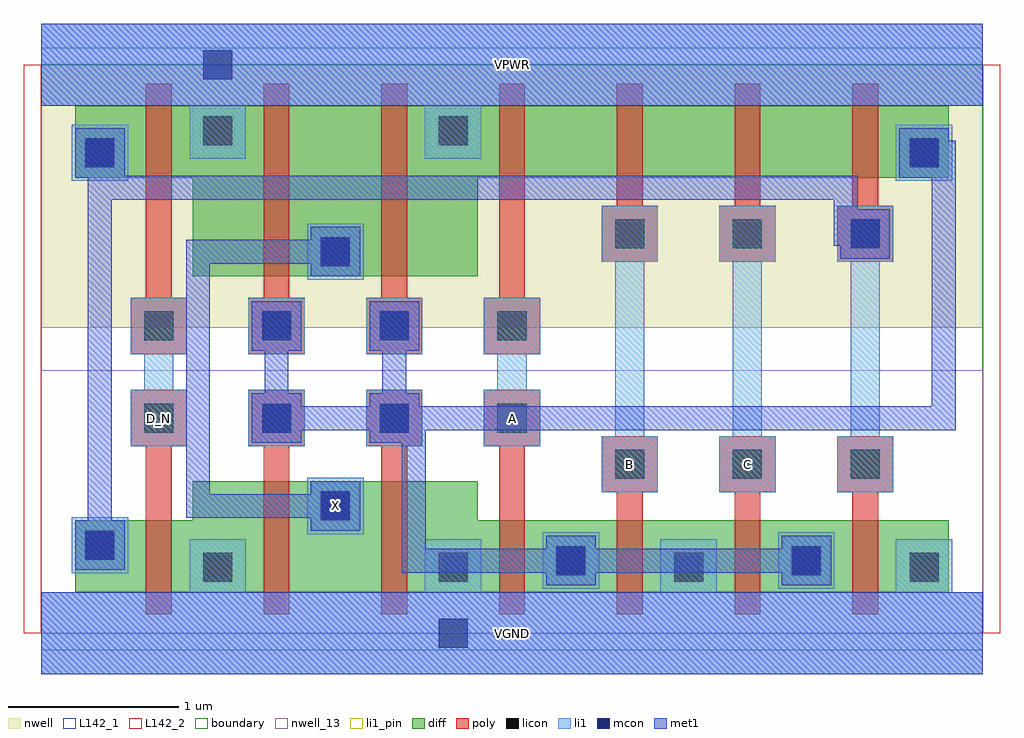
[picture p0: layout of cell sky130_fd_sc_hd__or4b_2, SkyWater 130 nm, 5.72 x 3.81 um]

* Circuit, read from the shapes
.subckt sky130_fd_sc_hd__or4b_2 A B C D_N VGND VPWR X
XM1 VGND D_N n1 VSUBS sky130_fd_pr__nfet_01v8 w=0.42 l=0.15
XM2 X n2 VGND VSUBS sky130_fd_pr__nfet_01v8 w=0.65 l=0.15 m=2
XM3 n2 A VGND VSUBS sky130_fd_pr__nfet_01v8 w=0.42 l=0.15
XM4 VGND B n2 VSUBS sky130_fd_pr__nfet_01v8 w=0.42 l=0.15
XM5 n2 C VGND VSUBS sky130_fd_pr__nfet_01v8 w=0.42 l=0.15
XM6 VGND n1 n2 VSUBS sky130_fd_pr__nfet_01v8 w=0.42 l=0.15
XM7 VPWR D_N n1 n3 sky130_fd_pr__pfet_01v8 w=0.42 l=0.15
XM8 X n2 VPWR n3 sky130_fd_pr__pfet_01v8 w=1 l=0.15 m=2
XM9 n4 A VPWR n3 sky130_fd_pr__pfet_01v8 w=0.42 l=0.15
XM10 n5 B n4 n3 sky130_fd_pr__pfet_01v8 w=0.42 l=0.15
XM11 n6 C n5 n3 sky130_fd_pr__pfet_01v8 w=0.42 l=0.15
XM12 n2 n1 n6 n3 sky130_fd_pr__pfet_01v8 w=0.42 l=0.15
.ends

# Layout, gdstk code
import gdstk
lib = gdstk.Library(unit=1e-6, precision=1e-09)
def R(c, l, rs):  # rectangles x0, y0, x1, y1
    for r in rs: c.add(gdstk.rectangle(r[:2], r[2:], *l))
def A(c, l, x, y, w, h, nx, ny, dx, dy):  # array of equal rectangles
    R(c, l, [(x+i*dx, y+j*dy, x+i*dx+w, y+j*dy+h) for i in range(nx) for j in range(ny)])
def P(c, l, *ps):  # polygons
    for p in ps: c.add(gdstk.Polygon(p, *l))
nwell_13 = (64, 13)
nwell = (64, 20)
diff = (65, 20)
poly = (66, 20)
licon = (66, 44)
li1_pin = (67, 16)
li1 = (67, 20)
mcon = (67, 44)
met1 = (68, 20)
L142_1 = (142, 1)
L142_2 = (142, 2)
boundary = (235, 4)

sky130_fd_sc_hd__or4b_2 = lib.new_cell('sky130_fd_sc_hd__or4b_2')
R(sky130_fd_sc_hd__or4b_2, nwell_13, [(0,0,5.52,1.54)])
R(sky130_fd_sc_hd__or4b_2, nwell, [(0,1.79,5.52,3.33)])
A(sky130_fd_sc_hd__or4b_2, diff, 2.685, 0.24, 0.69, 0.42, 3, 2, 0.69, 2.43)
R(sky130_fd_sc_hd__or4b_2, diff, [(0.2,0.24,0.615,0.66), (1.305,0.24,1.995,0.89), (4.755,0.24,5.32,0.66), (1.305,2.09,1.995,3.09), (0.2,2.67,0.615,3.09), (4.755,2.67,5.32,3.09)])
P(sky130_fd_sc_hd__or4b_2, diff, [(0.2,0.24),(0.2,0.66),(0.89,0.66),(0.89,0.89),(2.56,0.89),(2.56,0.66),(5.32,0.66),(5.32,0.24)],
  [(0.615,0.24),(0.615,0.66),(0.89,0.66),(0.89,0.89),(1.305,0.89),(1.305,0.24)],
  [(1.995,0.24),(1.995,0.89),(2.56,0.89),(2.56,0.66),(2.685,0.66),(2.685,0.24)],
  [(0.89,2.09),(0.89,2.67),(0.2,2.67),(0.2,3.09),(5.32,3.09),(5.32,2.67),(2.56,2.67),(2.56,2.09)],
  [(0.89,2.09),(0.89,2.67),(0.615,2.67),(0.615,3.09),(1.305,3.09),(1.305,2.09)],
  [(1.995,2.09),(1.995,3.09),(2.685,3.09),(2.685,2.67),(2.56,2.67),(2.56,2.09)])
P(sky130_fd_sc_hd__or4b_2, poly, [(3.375,0.11),(3.375,0.825),(3.285,0.825),(3.285,1.155),(3.615,1.155),(3.615,0.825),(3.525,0.825),(3.525,0.11)],
  [(3.285,2.175),(3.285,2.505),(3.375,2.505),(3.375,3.22),(3.525,3.22),(3.525,2.505),(3.615,2.505),(3.615,2.175)],
  [(1.305,0.11),(1.305,1.095),(1.215,1.095),(1.215,1.425),(1.545,1.425),(1.545,1.095),(1.455,1.095),(1.455,0.11)],
  [(1.995,0.11),(1.995,1.095),(1.905,1.095),(1.905,1.425),(2.235,1.425),(2.235,1.095),(2.145,1.095),(2.145,0.11)],
  [(1.215,1.635),(1.215,1.965),(1.305,1.965),(1.305,3.22),(1.455,3.22),(1.455,1.965),(1.545,1.965),(1.545,1.635)],
  [(1.905,1.635),(1.905,1.965),(1.995,1.965),(1.995,3.22),(2.145,3.22),(2.145,1.965),(2.235,1.965),(2.235,1.635)],
  [(4.755,0.11),(4.755,0.825),(4.665,0.825),(4.665,1.155),(4.995,1.155),(4.995,0.825),(4.905,0.825),(4.905,0.11)],
  [(4.665,2.175),(4.665,2.505),(4.755,2.505),(4.755,3.22),(4.905,3.22),(4.905,2.505),(4.995,2.505),(4.995,2.175)],
  [(0.615,0.11),(0.615,1.095),(0.525,1.095),(0.525,1.425),(0.855,1.425),(0.855,1.095),(0.765,1.095),(0.765,0.11)],
  [(0.525,1.635),(0.525,1.965),(0.615,1.965),(0.615,3.22),(0.765,3.22),(0.765,1.965),(0.855,1.965),(0.855,1.635)],
  [(4.065,0.11),(4.065,0.825),(3.975,0.825),(3.975,1.155),(4.305,1.155),(4.305,0.825),(4.215,0.825),(4.215,0.11)],
  [(3.975,2.175),(3.975,2.505),(4.065,2.505),(4.065,3.22),(4.215,3.22),(4.215,2.505),(4.305,2.505),(4.305,2.175)],
  [(2.685,0.11),(2.685,1.095),(2.595,1.095),(2.595,1.425),(2.925,1.425),(2.925,1.095),(2.835,1.095),(2.835,0.11)],
  [(2.595,1.635),(2.595,1.965),(2.685,1.965),(2.685,3.22),(2.835,3.22),(2.835,1.965),(2.925,1.965),(2.925,1.635)])
A(sky130_fd_sc_hd__or4b_2, licon, 0.95, 0.3, 0.17, 0.17, 4, 1, 1.38, 0)
A(sky130_fd_sc_hd__or4b_2, licon, 3.365, 0.905, 0.17, 0.17, 3, 2, 0.69, 1.35)
A(sky130_fd_sc_hd__or4b_2, licon, 0.605, 1.175, 0.17, 0.17, 4, 2, 0.69, 0.54)
R(sky130_fd_sc_hd__or4b_2, licon, [(3.02,0.34,3.19,0.51), (4.4,0.34,4.57,0.51), (0.26,0.43,0.43,0.6), (1.64,0.66,1.81,0.83), (1.64,2.15,1.81,2.32), (0.26,2.73,0.43,2.9), (5.09,2.73,5.26,2.9), (0.95,2.86,1.12,3.03), (2.33,2.86,2.5,3.03)])
R(sky130_fd_sc_hd__or4b_2, li1_pin, [(0,-0.24,5.52,0.24), (1.56,0.58,1.89,0.91), (0,3.09,5.52,3.57)])
P(sky130_fd_sc_hd__or4b_2, li1_pin, [(3.285,0.825),(3.285,1.155),(3.365,1.155),(3.365,2.175),(3.285,2.175),(3.285,2.505),(3.615,2.505),(3.615,2.175),(3.535,2.175),(3.535,1.155),(3.615,1.155),(3.615,0.825)],
  [(2.595,1.095),(2.595,1.425),(2.675,1.425),(2.675,1.635),(2.595,1.635),(2.595,1.965),(2.925,1.965),(2.925,1.635),(2.845,1.635),(2.845,1.425),(2.925,1.425),(2.925,1.095)],
  [(3.975,0.825),(3.975,1.155),(4.055,1.155),(4.055,2.175),(3.975,2.175),(3.975,2.505),(4.305,2.505),(4.305,2.175),(4.225,2.175),(4.225,1.155),(4.305,1.155),(4.305,0.825)],
  [(0.525,1.095),(0.525,1.425),(0.605,1.425),(0.605,1.635),(0.525,1.635),(0.525,1.965),(0.855,1.965),(0.855,1.635),(0.775,1.635),(0.775,1.425),(0.855,1.425),(0.855,1.095)])
R(sky130_fd_sc_hd__or4b_2, li1, [(2.94,0.26,3.27,0.59), (4.32,0.26,4.65,0.59), (0.18,0.35,0.51,0.68), (1.56,0.58,1.89,0.91), (1.215,1.095,1.545,1.425), (1.905,1.095,2.235,1.425), (1.215,1.635,1.545,1.965), (1.905,1.635,2.235,1.965), (1.56,2.07,1.89,2.4), (0.18,2.65,0.51,2.98), (5.01,2.65,5.34,2.98)])
P(sky130_fd_sc_hd__or4b_2, li1, [(3.285,0.825),(3.285,1.155),(3.365,1.155),(3.365,2.175),(3.285,2.175),(3.285,2.505),(3.615,2.505),(3.615,2.175),(3.535,2.175),(3.535,1.155),(3.615,1.155),(3.615,0.825)],
  [(4.665,0.825),(4.665,1.155),(4.745,1.155),(4.745,2.175),(4.665,2.175),(4.665,2.505),(4.995,2.505),(4.995,2.175),(4.915,2.175),(4.915,1.155),(4.995,1.155),(4.995,0.825)],
  [(0.87,2.78),(0.87,3.09),(0,3.09),(0,3.57),(5.52,3.57),(5.52,3.09),(2.58,3.09),(2.58,2.78),(2.25,2.78),(2.25,3.09),(1.2,3.09),(1.2,2.78)],
  [(0.525,1.095),(0.525,1.425),(0.605,1.425),(0.605,1.635),(0.525,1.635),(0.525,1.965),(0.855,1.965),(0.855,1.635),(0.775,1.635),(0.775,1.425),(0.855,1.425),(0.855,1.095)],
  [(3.975,0.825),(3.975,1.155),(4.055,1.155),(4.055,2.175),(3.975,2.175),(3.975,2.505),(4.305,2.505),(4.305,2.175),(4.225,2.175),(4.225,1.155),(4.305,1.155),(4.305,0.825)],
  [(0,-0.24),(0,0.24),(0.87,0.24),(0.87,0.55),(1.2,0.55),(1.2,0.24),(2.25,0.24),(2.25,0.55),(2.58,0.55),(2.58,0.24),(3.63,0.24),(3.63,0.55),(3.96,0.55),(3.96,0.24),(5.01,0.24),(5.01,0.55),(5.34,0.55),(5.34,0.24),(5.52,0.24),(5.52,-0.24)],
  [(2.595,1.095),(2.595,1.425),(2.675,1.425),(2.675,1.635),(2.595,1.635),(2.595,1.965),(2.925,1.965),(2.925,1.635),(2.845,1.635),(2.845,1.425),(2.925,1.425),(2.925,1.095)])
R(sky130_fd_sc_hd__or4b_2, mcon, [(2.33,-0.085,2.5,0.085), (3.02,0.34,3.19,0.51), (4.4,0.34,4.57,0.51), (0.26,0.43,0.43,0.6), (1.64,0.66,1.81,0.83), (1.295,1.175,1.465,1.345), (1.985,1.175,2.155,1.345), (1.295,1.715,1.465,1.885), (1.985,1.715,2.155,1.885), (1.64,2.15,1.81,2.32), (4.745,2.255,4.915,2.425), (0.26,2.73,0.43,2.9), (5.09,2.73,5.26,2.9), (0.95,3.245,1.12,3.415)])
R(sky130_fd_sc_hd__or4b_2, met1, [(0,-0.24,5.52,0.24), (0,3.09,5.52,3.57)])
P(sky130_fd_sc_hd__or4b_2, met1, [(2.96,0.28),(2.96,0.355),(2.115,0.355),(2.115,1.115),(1.925,1.115),(1.925,1.19),(1.525,1.19),(1.525,1.115),(1.235,1.115),(1.235,1.405),(1.31,1.405),(1.31,1.655),(1.235,1.655),(1.235,1.945),(1.525,1.945),(1.525,1.655),(1.45,1.655),(1.45,1.405),(1.525,1.405),(1.525,1.33),(1.925,1.33),(1.925,1.405),(2,1.405),(2,1.655),(1.925,1.655),(1.925,1.945),(2.215,1.945),(2.215,1.655),(2.14,1.655),(2.14,1.405),(2.215,1.405),(2.215,1.33),(5.22,1.33),(5.22,2.67),(5.03,2.67),(5.03,2.96),(5.32,2.96),(5.32,2.885),(5.36,2.885),(5.36,1.19),(2.255,1.19),(2.255,0.495),(2.96,0.495),(2.96,0.57),(3.25,0.57),(3.25,0.495),(4.34,0.495),(4.34,0.57),(4.63,0.57),(4.63,0.28),(4.34,0.28),(4.34,0.355),(3.25,0.355),(3.25,0.28)],
  [(0.2,0.37),(0.2,0.66),(0.275,0.66),(0.275,2.67),(0.2,2.67),(0.2,2.96),(0.49,2.96),(0.49,2.68),(4.785,2.68),(4.785,2.485),(4.975,2.485),(4.975,2.195),(4.685,2.195),(4.685,2.27),(4.645,2.27),(4.645,2.54),(0.415,2.54),(0.415,0.66),(0.49,0.66),(0.49,0.37)],
  [(1.58,0.6),(1.58,0.675),(0.85,0.675),(0.85,2.305),(1.58,2.305),(1.58,2.38),(1.87,2.38),(1.87,2.09),(1.58,2.09),(1.58,2.165),(0.99,2.165),(0.99,0.815),(1.58,0.815),(1.58,0.89),(1.87,0.89),(1.87,0.6)])
R(sky130_fd_sc_hd__or4b_2, L142_1, [(0,-0.1,5.52,0), (0,3.33,5.52,3.43)])
R(sky130_fd_sc_hd__or4b_2, L142_2, [(-0.1,0,0,3.33), (5.52,0,5.62,3.33)])
R(sky130_fd_sc_hd__or4b_2, boundary, [(0,0,5.52,3.33)])
sky130_fd_sc_hd__or4b_2.add(gdstk.Label('X', (1.725,0.745), layer=67, texttype=5))
sky130_fd_sc_hd__or4b_2.add(gdstk.Label('B', (3.45,0.99), layer=67, texttype=5))
sky130_fd_sc_hd__or4b_2.add(gdstk.Label('A', (2.76,1.26), layer=67, texttype=5))
sky130_fd_sc_hd__or4b_2.add(gdstk.Label('C', (4.14,0.99), layer=67, texttype=5))
sky130_fd_sc_hd__or4b_2.add(gdstk.Label('D_N', (0.69,1.26), layer=67, texttype=5))
sky130_fd_sc_hd__or4b_2.add(gdstk.Label('VGND', (2.76,0), layer=67, texttype=5))
sky130_fd_sc_hd__or4b_2.add(gdstk.Label('VPWR', (2.76,3.33), layer=67, texttype=5))
sky130_fd_sc_hd__or4b_2.add(gdstk.Label('VGND', (2.76,0), layer=68, texttype=5))
sky130_fd_sc_hd__or4b_2.add(gdstk.Label('VPWR', (2.76,3.33), layer=68, texttype=5))

lib.write_gds('sky130_fd_sc_hd__or4b_2.gds')
